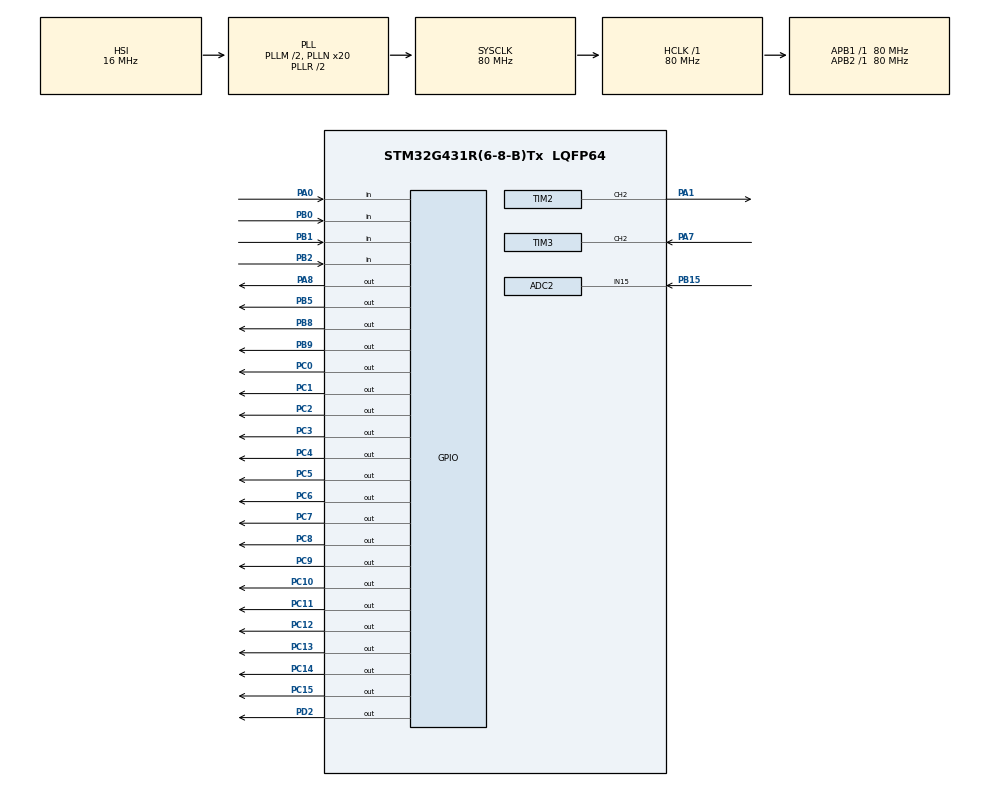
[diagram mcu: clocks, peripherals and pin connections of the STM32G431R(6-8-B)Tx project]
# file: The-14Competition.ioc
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ADC2.Channel-0\#ChannelRegularConversion=ADC_CHANNEL_15
ADC2.NbrOfConversionFlag=1
ADC2.OffsetNumber-0\#ChannelRegularConversion=ADC_OFFSET_NONE
ADC2.Rank-0\#ChannelRegularConversion=1
ADC2.SamplingTime-0\#ChannelRegularConversion=ADC_SAMPLETIME_2CYCLES_5
Mcu.Family=STM32G4
Mcu.Name=STM32G431R(6-8-B)Tx
Mcu.Package=LQFP64
NVIC.PriorityGroup=NVIC_PRIORITYGROUP_4
NVIC.TIM1_TRG_COM_TIM17_IRQn=true\:0\:0\:false\:false\:true\:true\:true\:true
NVIC.TIM1_UP_TIM16_IRQn=true\:0\:0\:false\:false\:true\:true\:true\:true
NVIC.TIM2_IRQn=true\:0\:0\:false\:false\:true\:true\:true\:true
NVIC.TIM3_IRQn=true\:0\:0\:false\:false\:true\:true\:true\:true
PA0.Signal=GPIO_Input
PA1.Signal=S_TIM2_CH2
PA7.Signal=S_TIM3_CH2
PA8.Signal=GPIO_Output
PB0.Signal=GPIO_Input
PB1.Signal=GPIO_Input
PB15.Mode=IN15-Single-Ended
PB15.Signal=ADC2_IN15
PB2.Signal=GPIO_Input
PB5.Signal=GPIO_Output
PB8-BOOT0.Signal=GPIO_Output
PB9.Signal=GPIO_Output
PC0.Signal=GPIO_Output
PC1.Signal=GPIO_Output
PC10.Signal=GPIO_Output
PC11.Signal=GPIO_Output
PC12.Signal=GPIO_Output
PC13.Signal=GPIO_Output
PC14-OSC32_IN.Signal=GPIO_Output
PC15-OSC32_OUT.Signal=GPIO_Output
PC2.Signal=GPIO_Output
PC3.Signal=GPIO_Output
PC4.Signal=GPIO_Output
PC5.Signal=GPIO_Output
PC6.Signal=GPIO_Output
PC7.Signal=GPIO_Output
PC8.Signal=GPIO_Output
PC9.Signal=GPIO_Output
PD2.Signal=GPIO_Output
PF0-OSC_IN.Mode=HSE-External-Oscillator
PF0-OSC_IN.Signal=RCC_OSC_IN
PF1-OSC_OUT.Mode=HSE-External-Oscillator
PF1-OSC_OUT.Signal=RCC_OSC_OUT
ProjectManager.HeapSize=0x200
ProjectManager.StackSize=0x400
ProjectManager.TargetToolchain=MDK-ARM V5
RCC.ADC12Freq_Value=80000000
RCC.AHBFreq_Value=80000000
RCC.APB1Freq_Value=80000000
RCC.APB1TimFreq_Value=80000000
RCC.APB2Freq_Value=80000000
RCC.APB2TimFreq_Value=80000000
RCC.CortexFreq_Value=80000000
RCC.EXTERNAL_CLOCK_VALUE=12288000
RCC.HCLKFreq_Value=80000000
RCC.HSE_VALUE=24000000
RCC.HSI48_VALUE=48000000
RCC.HSI_VALUE=16000000
RCC.LSE_VALUE=32768
RCC.PLLM=RCC_PLLM_DIV2
RCC.PLLN=20
RCC.SYSCLKFreq_VALUE=80000000
RCC.SYSCLKSource=RCC_SYSCLKSOURCE_PLLCLK
RCC.USBFreq_Value=80000000
RCC.VCOOutputFreq_Value=160000000
SH.S_TIM2_CH2.0=TIM2_CH2,PWM Generation2 CH2
SH.S_TIM3_CH2.0=TIM3_CH2,Input_Capture2_from_TI2
SH.S_TIM3_CH2.1=TIM3_CH2,Input_Capture1_from_TI2
SH.S_TIM3_CH2.2=TIM3_CH2,TriggerSource_TI2FP2
TIM1.PeriodNoDither=9999
TIM1.Prescaler=799
TIM2.Channel-PWM\ Generation2\ CH2=TIM_CHANNEL_2
TIM2.PeriodNoDither=999
TIM2.Prescaler=79
TIM3.AutoReloadPreload=TIM_AUTORELOAD_PRELOAD_DISABLE
TIM3.Channel-Input_Capture1_from_TI2=TIM_CHANNEL_1
TIM3.Channel-Input_Capture2_from_TI2=TIM_CHANNEL_2
TIM3.ICPolarity_CH1=TIM_INPUTCHANNELPOLARITY_FALLING
TIM3.ICPolarity_CH2=TIM_INPUTCHANNELPOLARITY_RISING
TIM3.PeriodNoDither=0xffff
TIM3.Prescaler=79
VP_SYS_VS_DBSignals.Mode=DisableDeadBatterySignals
VP_TIM1_VS_ClockSourceINT.Mode=Internal
VP_TIM3_VS_ControllerModeReset.Mode=Reset Mode
board=custom

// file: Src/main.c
/* USER CODE BEGIN Header */
/**
  ******************************************************************************
  * @file           : main.c
  * @brief          : Main program body
  ******************************************************************************
  * @attention
  *
  * <h2><center>&copy; Copyright (c) 2021 STMicroelectronics.
  * All rights reserved.</center></h2>
  *
  * This software component is licensed by ST under BSD 3-Clause license,
  * the "License"; You may not use this file except in compliance with the
  * License. You may obtain a copy of the License at:
  *                        opensource.org/licenses/BSD-3-Clause
  *
  ******************************************************************************
  */
/* USER CODE END Header */

#include "main.h"
#include "adc.h"
#include "tim.h"
#include "gpio.h"

/* USER CODE BEGIN Includes */
#include "lcd.h"
#include "led.h"
#include "key.h"
#include "stdio.h"
/* USER CODE END Includes */

void SystemClock_Config(void);

/* USER CODE BEGIN 0 */
double ADC2_Volt ;
u8 Ctrl = 0 ;
typedef struct
{
	char PWM_Mode ;
	int Mode ;//0-L.1-H
	float Speed,Old_Speed;
	int K,R ;
	u16 Num ;
	float Max_H,Max_L ;
	u8 LCD_Show ;
	u8 Mode_Flag ;
	u8 Select ;
	u8 Cont_Flag ;
	double D_PWM ;
	u32 PWM_Change,D_Change;
	double D ;
}BaseData ;
BaseData Data ;
#define PWM_H (1000000/8000)-1
#define PWM_L (1000000/4000)-1
#define PI 3.14
void Recd_Show(void) ;
void Para_Show(void) ;
void Data_Show(void) ;
void ADC_Process(void)
{
	HAL_ADC_Start(&hadc2) ;
	ADC2_Volt = HAL_ADC_GetValue(&hadc2)/4096.0f*3.3f ;

	if(!Data.Cont_Flag)
	{
		if(ADC2_Volt <= 1.0) Data.D = 10 ;
		else if(ADC2_Volt<3.0) Data.D = ((ADC2_Volt-1)/2*75)+10 ;
		else if(ADC2_Volt>=3.0) Data.D = 85 ;

		if(Data.Mode)
			Data.D_PWM = ((PWM_H+1)/100.0f)*Data.D ;
		else
			Data.D_PWM = ((PWM_L+1)/100.0f)*Data.D ;

		Ctrl &= ~0x04 ;
	}
	else
	{
		Ctrl |= 0x04 ;
	}
}
float PA7_D ;
u32 PA7_F,T1,T2;
u8 Tim3_start ;

u8 ERROR_Flag ;
float PA7_D1 ;
u32 PA7_F1,T11,T22,oled_F;
u8 Tim2_start ;
void HAL_TIM_IC_CaptureCallback(TIM_HandleTypeDef *htim)
{
	if(htim == &htim3)
	{
		if(htim->Channel == HAL_TIM_ACTIVE_CHANNEL_1)
		{
			T1 = HAL_TIM_ReadCapturedValue(&htim3,TIM_CHANNEL_1)+1 ;
			PA7_D = T1*100.0f/T2 ;
		}
		if(htim->Channel == HAL_TIM_ACTIVE_CHANNEL_2)
		{
			T2 = HAL_TIM_ReadCapturedValue(&htim3,TIM_CHANNEL_2)+1 ;

			PA7_F = 1000000/T2 ;
		}
		HAL_TIM_IC_Start_IT(&htim3,TIM_CHANNEL_2) ;
		HAL_TIM_IC_Start_IT(&htim3,TIM_CHANNEL_1) ;
    }
}

__IO uint32_t KeyTick = 0 ;
void Key_Process(void)
{
	if(uwTick - KeyTick<10) return ;
	KeyTick = uwTick ;

	Key_Read() ;

	if(Trg & 0x01)
	{
		Data.LCD_Show += 1 ;
		if(Data.LCD_Show == 3) Data.LCD_Show = 0 ;
	}
	if(Trg & 0x02)
	{
		if((Data.LCD_Show == 0) && (Data.Mode_Flag == 0))
		{
			Data.Mode = !Data.Mode ;
			Data.Num += 1 ;
			Data.Mode_Flag = 1 ;
		}
		if(Data.LCD_Show == 1)
		{
			Data.Select = !Data.Select ;
		}
	}
	if(Trg & 0x04)
	{
		if(Data.LCD_Show == 1)
		{
			if(!Data.Select)
			{
				Data.R += 1 ;
				if(Data.R == 11) Data.R = 1 ;
			}
			else
			{
				Data.K += 1 ;
				if(Data.K == 11) Data.K = 1 ;
			}
	    }
	}

	if(Trg & 0x08)
	{
		if(Data.LCD_Show == 0)
		{
			Data.Cont_Flag = 0 ;
		}
		else if(Data.LCD_Show == 1)
		{
			if(!Data.Select)
			{
				Data.R -= 1 ;
				if(Data.R == 0) Data.R = 10 ;
			}
			else
			{
				Data.K -= 1 ;
				if(Data.K == 0) Data.K = 10 ;
			}
     	}
	}

	if(Data.Mode_Flag == 0)
	{
		if(!Data.Mode)
		{
			TIM2->ARR = PWM_L ;
			TIM2->CCR2 = Data.D_PWM ;
			Data.PWM_Mode = 'L' ;
		}
		else
		{
			TIM2->ARR = PWM_H ;
			TIM2->CCR2 = Data.D_PWM ;
			Data.PWM_Mode = 'H' ;
		}
    }
	else
	{
		if(!Data.Mode)
		{
			TIM2->ARR = (1000000/(8000-Data.PWM_Change)-1) ;
			TIM2->CCR2 = (1000000/(8000-Data.PWM_Change)/100.0f)*Data.D ;
		}
		else
		{
			TIM2->ARR = (1000000/(Data.PWM_Change+4000)-1) ;
			TIM2->CCR2 = (1000000/(Data.PWM_Change+4000)/100.0f)*Data.D ;
		}
	}

	if(Data.Cont_Flag == 1)  ;
	else  ;
}

__IO uint32_t SpeedTick = 0 ;
void ERROR_Process(void)
{
	Data.Speed = ((PA7_F*2*PI*Data.R)/(100*Data.K)) ;
	if(uwTick - SpeedTick<200) return;
	SpeedTick = uwTick ;
	Data.Old_Speed = Data.Speed ;
		if((PA7_F<8000) && (PA7_F>4000))
	{
		ERROR_Flag = 1;
		oled_F = PA7_F ;
	}
	else	ERROR_Flag = 0 ;
}

void LCD_Process(void)
{

	if(Data.LCD_Show == 0)
		Data_Show() ;
	else if(Data.LCD_Show == 1)
		Para_Show() ;
	else if(Data.LCD_Show == 2)
		Recd_Show() ;
}
void Data_Show(void)
{
	char buff[20] ;
	LCD_DisplayStringLine(Line1,(u8 *)"        DATA        ") ;

	sprintf((char *)buff,"     M=%c          ",Data.PWM_Mode) ;
	LCD_DisplayStringLine(Line3,(u8 *)buff) ;

	sprintf((char *)buff,"     P=%.0f%%      ",PA7_D) ;
	LCD_DisplayStringLine(Line4,(u8 *)buff) ;

//	sprintf((char *)buff,"     P=%04dHz      ",PA7_F) ;
//	LCD_DisplayStringLine(Line6,(u8 *)buff) ;

	sprintf((char *)buff,"     V=%.1f        ",Data.Speed) ;
	LCD_DisplayStringLine(Line5,(u8 *)buff) ;
}

void Para_Show(void)
{
	char buff[20] ;
	LCD_DisplayStringLine(Line1,(u8 *)"        PARA        ") ;

	sprintf((char *)buff,"     R=%d        ",Data.R) ;
	LCD_DisplayStringLine(Line3,(u8 *)buff) ;

	sprintf((char *)buff,"     K=%d        ",Data.K) ;
	LCD_DisplayStringLine(Line4,(u8 *)buff) ;

	LCD_DisplayStringLine(Line5,(u8 *)"                   ") ;
	LCD_DisplayStringLine(Line6,(u8 *)"                   ") ;
}

void Recd_Show(void)
{
	char buff[20] ;
	LCD_DisplayStringLine(Line1,(u8 *)"        RECD        ") ;

	sprintf((char *)buff,"     N=%d        ",Data.Num) ;
	LCD_DisplayStringLine(Line3,(u8 *)buff) ;

	sprintf((char *)buff,"     MH=%.1f        ",Data.Max_H) ;
	LCD_DisplayStringLine(Line4,(u8 *)buff) ;

	sprintf((char *)buff,"     ML=%.1f        ",Data.Max_L) ;
	LCD_DisplayStringLine(Line5,(u8 *)buff) ;
	LCD_DisplayStringLine(Line6,(u8 *)"                   ") ;
}
/* USER CODE END 0 */

int main(void)
{

  /* MCU Configuration--------------------------------------------------------*/

  /* Reset of all peripherals, Initializes the Flash interface and the Systick. */
  HAL_Init();

  /* Configure the system clock */
  SystemClock_Config();

  /* Initialize all configured peripherals */
  MX_GPIO_Init();
  MX_ADC2_Init();
  MX_TIM1_Init();
  MX_TIM2_Init();
  MX_TIM3_Init();
  /* USER CODE BEGIN 2 */
	HAL_TIM_IC_Start_IT(&htim3,TIM_CHANNEL_2) ;
	HAL_TIM_IC_Start_IT(&htim3,TIM_CHANNEL_1) ;
	HAL_TIM_PWM_Start(&htim2,TIM_CHANNEL_2) ;
	TIM2->ARR = PWM_L ;
	TIM2->CCR2 = 0;
	Data.K = 1;
	Data.R = 1;
	HAL_TIM_Base_Start_IT(&htim1) ;
	LCD_Init();
  /* USER CODE END 2 */

  /* Infinite loop */
  /* USER CODE BEGIN WHILE */

	LCD_Clear(Black);
	LCD_SetBackColor(Black);
	LCD_SetTextColor(White);
	LED_Control(0x00) ;

  while (1)
  {
    /* USER CODE END WHILE */

    /* USER CODE BEGIN 3 */
	  ADC_Process() ;
	  LCD_Process() ;
	  Key_Process() ;
	  ERROR_Process() ;

  }
  /* USER CODE END 3 */
}

void SystemClock_Config(void)
{
  RCC_OscInitTypeDef RCC_OscInitStruct = {0};
  RCC_ClkInitTypeDef RCC_ClkInitStruct = {0};
  RCC_PeriphCLKInitTypeDef PeriphClkInit = {0};

  /** Configure the main internal regulator output voltage
  */
  HAL_PWREx_ControlVoltageScaling(PWR_REGULATOR_VOLTAGE_SCALE1);
  /** Initializes the CPU, AHB and APB busses clocks
  */
  RCC_OscInitStruct.OscillatorType = RCC_OSCILLATORTYPE_HSI;
  RCC_OscInitStruct.HSIState = RCC_HSI_ON;
  RCC_OscInitStruct.HSICalibrationValue = RCC_HSICALIBRATION_DEFAULT;
  RCC_OscInitStruct.PLL.PLLState = RCC_PLL_ON;
  RCC_OscInitStruct.PLL.PLLSource = RCC_PLLSOURCE_HSI;
  RCC_OscInitStruct.PLL.PLLM = RCC_PLLM_DIV2;
  RCC_OscInitStruct.PLL.PLLN = 20;
  RCC_OscInitStruct.PLL.PLLP = RCC_PLLP_DIV2;
  RCC_OscInitStruct.PLL.PLLQ = RCC_PLLQ_DIV2;
  RCC_OscInitStruct.PLL.PLLR = RCC_PLLR_DIV2;
  if (HAL_RCC_OscConfig(&RCC_OscInitStruct) != HAL_OK)
  {
    Error_Handler();
  }
  /** Initializes the CPU, AHB and APB busses clocks
  */
  RCC_ClkInitStruct.ClockType = RCC_CLOCKTYPE_HCLK|RCC_CLOCKTYPE_SYSCLK
                              |RCC_CLOCKTYPE_PCLK1|RCC_CLOCKTYPE_PCLK2;
  RCC_ClkInitStruct.SYSCLKSource = RCC_SYSCLKSOURCE_PLLCLK;
  RCC_ClkInitStruct.AHBCLKDivider = RCC_SYSCLK_DIV1;
  RCC_ClkInitStruct.APB1CLKDivider = RCC_HCLK_DIV1;
  RCC_ClkInitStruct.APB2CLKDivider = RCC_HCLK_DIV1;

  if (HAL_RCC_ClockConfig(&RCC_ClkInitStruct, FLASH_LATENCY_3) != HAL_OK)
  {
    Error_Handler();
  }
  /** Initializes the peripherals clocks
  */
  PeriphClkInit.PeriphClockSelection = RCC_PERIPHCLK_ADC12;
  PeriphClkInit.Adc12ClockSelection = RCC_ADC12CLKSOURCE_SYSCLK;
  if (HAL_RCCEx_PeriphCLKConfig(&PeriphClkInit) != HAL_OK)
  {
    Error_Handler();
  }
}

/* USER CODE BEGIN 4 */

u8 x,i,y,z,c;
void HAL_TIM_PeriodElapsedCallback(TIM_HandleTypeDef *htim)
{
	if(htim->Instance == TIM1)
	{
		if(Data.LCD_Show == 0)
			Ctrl |= 0x01;
		else Ctrl &= ~0x01;
		if(Data.Old_Speed == Data.Speed)
		{
			z++ ;
			if(z == 20)
			{
				if(Data.Mode)
				{
					if(Data.Speed>Data.Max_H)
					      Data.Max_H = Data.Speed ;
				    z = 0;
				}
				else
				{
					if(Data.Speed>Data.Max_L)
					      Data.Max_L = Data.Speed ;
				    z = 0;
				}
			}
		}
		else z = 0;
		if(ERROR_Flag)
		{
			if(PA7_F == oled_F)
			{
				y++ ;
				if(y % 5 ==0)
				{
					__HAL_TIM_SetCounter(&htim2,0);//�������
					HAL_TIM_IC_Start_IT(&htim3,TIM_CHANNEL_2) ;
					HAL_TIM_IC_Start_IT(&htim3,TIM_CHANNEL_1) ;
					y = 0;
				}
			}
		}
		if(Data.Mode_Flag)
		{
			i++ ;
			c++ ;
			Data.PWM_Change += 80 ;
			if(c == 1)
			{
				Ctrl |= 0x02 ;
			}
			else if(c == 2)
			{
				Ctrl &= ~0x02 ;
				c = 0 ;
			}

			if(i % 50 == 0)
			{
				Data.Mode_Flag = 0 ;
				Data.PWM_Change = 0 ;
				Ctrl &= ~0x02 ;
				i = 0 ;
			}
		}
		if(Data.LCD_Show == 0)
		{
			if(Cont & 0x08)
			{
				x++ ;
				if(x % 20 == 0)
				{
				    Data.Cont_Flag = 1 ;
					x = 0 ;
				}
			}
		}
			LED_Control(Ctrl) ;
	}
}

/* USER CODE END 4 */

void Error_Handler(void)
{
}

/************************ (C) COPYRIGHT STMicroelectronics *****END OF FILE****/
